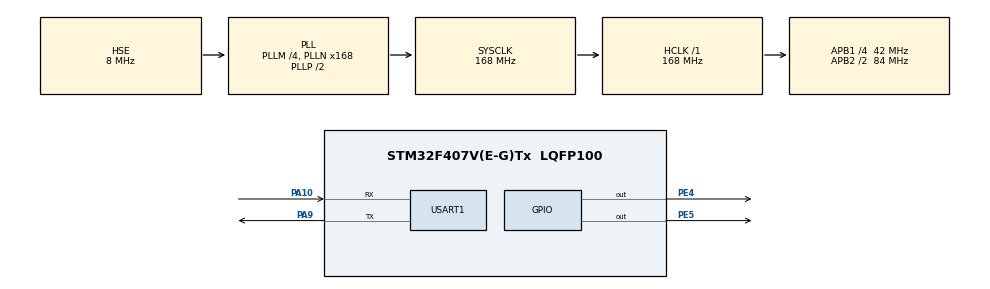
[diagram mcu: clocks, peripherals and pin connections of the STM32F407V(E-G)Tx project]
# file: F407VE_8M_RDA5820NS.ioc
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Mcu.Family=STM32F4
Mcu.Name=STM32F407V(E-G)Tx
Mcu.Package=LQFP100
NVIC.PriorityGroup=NVIC_PRIORITYGROUP_4
NVIC.USART1_IRQn=true\:0\:0\:false\:false\:true\:true\:true
PA10.Mode=Asynchronous
PA10.Signal=USART1_RX
PA13.Mode=Serial_Wire
PA13.Signal=SYS_JTMS-SWDIO
PA14.Mode=Serial_Wire
PA14.Signal=SYS_JTCK-SWCLK
PA9.Mode=Asynchronous
PA9.Signal=USART1_TX
PC14-OSC32_IN.Mode=LSE-External-Oscillator
PC14-OSC32_IN.Signal=RCC_OSC32_IN
PC15-OSC32_OUT.Mode=LSE-External-Oscillator
PC15-OSC32_OUT.Signal=RCC_OSC32_OUT
PE4.GPIO_ModeDefaultOutputPP=GPIO_MODE_OUTPUT_PP
PE4.GPIO_PuPd=GPIO_PULLUP
PE4.GPIO_Speed=GPIO_SPEED_FREQ_VERY_HIGH
PE4.PinState=GPIO_PIN_SET
PE4.Signal=GPIO_Output
PE5.GPIO_ModeDefaultOutputPP=GPIO_MODE_OUTPUT_PP
PE5.GPIO_PuPd=GPIO_PULLUP
PE5.GPIO_Speed=GPIO_SPEED_FREQ_VERY_HIGH
PE5.PinState=GPIO_PIN_SET
PE5.Signal=GPIO_Output
PH0-OSC_IN.Mode=HSE-External-Oscillator
PH0-OSC_IN.Signal=RCC_OSC_IN
PH1-OSC_OUT.Mode=HSE-External-Oscillator
PH1-OSC_OUT.Signal=RCC_OSC_OUT
ProjectManager.HeapSize=0x200
ProjectManager.StackSize=0x400
ProjectManager.TargetToolchain=MDK-ARM V5.32
RCC.48MHZClocksFreq_Value=84000000
RCC.AHBFreq_Value=168000000
RCC.APB1CLKDivider=RCC_HCLK_DIV4
RCC.APB1Freq_Value=42000000
RCC.APB1TimFreq_Value=84000000
RCC.APB2CLKDivider=RCC_HCLK_DIV2
RCC.APB2Freq_Value=84000000
RCC.APB2TimFreq_Value=168000000
RCC.CortexFreq_Value=168000000
RCC.HCLKFreq_Value=168000000
RCC.HSE_VALUE=8000000
RCC.HSI_VALUE=16000000
RCC.PLLM=4
RCC.PLLN=168
RCC.PLLSourceVirtual=RCC_PLLSOURCE_HSE
RCC.SYSCLKFreq_VALUE=168000000
RCC.SYSCLKSource=RCC_SYSCLKSOURCE_PLLCLK
RCC.VCOOutputFreq_Value=336000000
USART1.VirtualMode=VM_ASYNC
board=custom

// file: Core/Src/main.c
/* USER CODE BEGIN Header */
/**
  ******************************************************************************
  * @file           : main.c
  * @brief          : Main program body
  ******************************************************************************
  * @attention
  *
  * <h2><center>&copy; Copyright (c) 2021 STMicroelectronics.
  * All rights reserved.</center></h2>
  *
  * This software component is licensed by ST under BSD 3-Clause license,
  * the "License"; You may not use this file except in compliance with the
  * License. You may obtain a copy of the License at:
  *                        opensource.org/licenses/BSD-3-Clause
  *
  ******************************************************************************
  */
/* USER CODE END Header */
#include "main.h"
#include "usart.h"
#include "gpio.h"

/* USER CODE BEGIN Includes */
#include "RDA5820NS/rda5820ns.h"
/* USER CODE END Includes */

/* USER CODE BEGIN PV */
MyUARTHandle uart1;
uint8_t uartBuf1[100];
/* USER CODE END PV */

void SystemClock_Config(void);

int main(void)
{
  /* USER CODE BEGIN 1 */
  uint8_t str[50];
  double freq;
  uint16_t tmpreg;
  /* USER CODE END 1 */

  /* MCU Configuration--------------------------------------------------------*/

  /* Reset of all peripherals, Initializes the Flash interface and the Systick. */
  HAL_Init();

  /* Configure the system clock */
  SystemClock_Config();

  /* Initialize all configured peripherals */
  MX_GPIO_Init();
  MX_USART1_UART_Init();
  /* USER CODE BEGIN 2 */
  Delay_Init(168);
  MyUART_Init(&uart1, USART1, uartBuf1, 100);
  printf("RDA5820 Test\r\n");
  printf("ID: 0x%x\r\n", RDA5820_Init(GPIOE, 4, GPIOE, 5));
  freq = 87.5;
  /* USER CODE END 2 */

  /* Infinite loop */
  while (1)
  {

    /* USER CODE BEGIN 3 */
    // search test

    // RDA5820_SetFreq(freq);
    // Delay_ms(1000);
    // RDA5820_ReadReg(0x0B, &tmpreg);
    // printf("%f,%d\r\n",freq, tmpreg>>9);
    // freq+=0.1;
    // if(freq>=99.2)
    //   freq=87.5;

    // manual frequency

    if(MyUART_ReadUntilWithZero(&uart1, str, '>'))
    {
      if(str[0] == 't')
      {
        RDA5820_SetWorkMode(RDA5820_WORKMODE_TX);
        printf("Tx mode\n");
      }
      else if(str[0] == 'r')
      {
        RDA5820_SetWorkMode(RDA5820_WORKMODE_RX);
        printf("Rx mode\n");
      }
      else if(str[0] == 'f')
      {
        freq = myatof(str + 1); // freq*10
        freq /= 10.0;
        printf("Freq: %f\r\n", freq);
        RDA5820_SetFreq(freq);
      }
      else if(str[0] == 'c')
      {
        printf("Channel: %d\r\n", str[1] - '0');
        RDA5820_SetChannelSpace(str[1] - '0');
      }
    }
    RDA5820_ReadReg(0x0B, &tmpreg);
    printf("--------RSSI: %d, ", tmpreg>>9);
    RDA5820_ReadReg(0x0A, &tmpreg);
    printf("Seek/Tune Complete: %d, ", !!(tmpreg & 0x4000));

    printf("Ch: %d, ", tmpreg & 0x1FF);
    RDA5820_ReadReg(0x03, &tmpreg);
    printf("Band: %d, Space: %d, ", (tmpreg>>2)&0x3, tmpreg & 0x3);
    printf("\r\n");
    Delay_ms(1000);

  }
  /* USER CODE END 3 */
}

void SystemClock_Config(void)
{
  RCC_OscInitTypeDef RCC_OscInitStruct = {0};
  RCC_ClkInitTypeDef RCC_ClkInitStruct = {0};

  /** Configure the main internal regulator output voltage
  */
  __HAL_RCC_PWR_CLK_ENABLE();
  __HAL_PWR_VOLTAGESCALING_CONFIG(PWR_REGULATOR_VOLTAGE_SCALE1);
  /** Initializes the RCC Oscillators according to the specified parameters
  * in the RCC_OscInitTypeDef structure.
  */
  RCC_OscInitStruct.OscillatorType = RCC_OSCILLATORTYPE_HSE;
  RCC_OscInitStruct.HSEState = RCC_HSE_ON;
  RCC_OscInitStruct.PLL.PLLState = RCC_PLL_ON;
  RCC_OscInitStruct.PLL.PLLSource = RCC_PLLSOURCE_HSE;
  RCC_OscInitStruct.PLL.PLLM = 4;
  RCC_OscInitStruct.PLL.PLLN = 168;
  RCC_OscInitStruct.PLL.PLLP = RCC_PLLP_DIV2;
  RCC_OscInitStruct.PLL.PLLQ = 4;
  if (HAL_RCC_OscConfig(&RCC_OscInitStruct) != HAL_OK)
  {
    Error_Handler();
  }
  /** Initializes the CPU, AHB and APB buses clocks
  */
  RCC_ClkInitStruct.ClockType = RCC_CLOCKTYPE_HCLK|RCC_CLOCKTYPE_SYSCLK
                              |RCC_CLOCKTYPE_PCLK1|RCC_CLOCKTYPE_PCLK2;
  RCC_ClkInitStruct.SYSCLKSource = RCC_SYSCLKSOURCE_PLLCLK;
  RCC_ClkInitStruct.AHBCLKDivider = RCC_SYSCLK_DIV1;
  RCC_ClkInitStruct.APB1CLKDivider = RCC_HCLK_DIV4;
  RCC_ClkInitStruct.APB2CLKDivider = RCC_HCLK_DIV2;

  if (HAL_RCC_ClockConfig(&RCC_ClkInitStruct, FLASH_LATENCY_5) != HAL_OK)
  {
    Error_Handler();
  }
}

void Error_Handler(void)
{
  __disable_irq();
  while (1)
  {
  }
}

/************************ (C) COPYRIGHT STMicroelectronics *****END OF FILE****/
